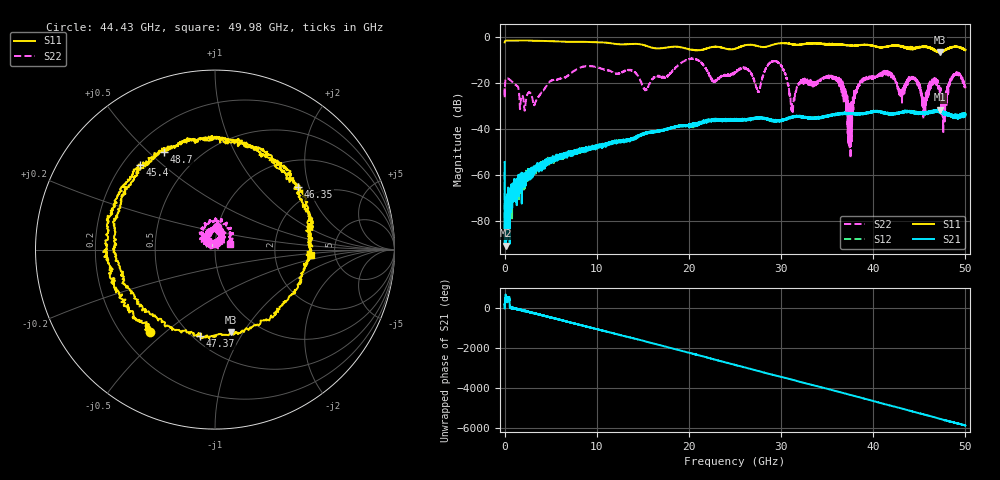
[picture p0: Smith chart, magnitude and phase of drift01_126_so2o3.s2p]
!Created with skrf (http://scikit-rf.org).
# Hz S RI R 50.0
!freq ReS11 ImS11 ReS21 ImS21 ReS12 ImS12 ReS22 ImS22
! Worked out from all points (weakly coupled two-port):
!   10001 points, 300 kHz to 50 GHz, reference 50 ohm
!   highest |S21| = -31.47 dB at 47.2 GHz (marker M1); lowest = -90.5 dB at 140.3 MHz (marker M2)
!   lowest |S11| = -6.6 dB at 47.24 GHz (marker M3), VSWR 2.76, Z = 37.3 - j44 ohm
!   |S11| at or under -10 dB: nowhere
!   |S22| runs from -52.5 to -9.2 dB; largest |S21 - S12| = 0.0039
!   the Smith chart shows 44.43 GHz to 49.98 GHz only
!   S11 on the Smith chart (normalised r, x): 44.43 GHz: 0.32, -0.44; 45.4 GHz: 0.27, +0.42; 46.35 GHz: 1.61, +1.70; 47.37 GHz: 0.54, -0.69; 48.7 GHz: 0.32, +0.56; 49.98 GHz: 3.28, -0.27
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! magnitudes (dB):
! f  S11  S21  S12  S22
! 300 kHz  -2.2  -54.2  -58.5  -22.2
! 140.3 MHz  -1.5  -90.5  -73.7  -17.9
! 3.29 GHz  -1.5  -57.0  -57.8  -28.8
! 8.335 GHz  -1.9  -48.8  -48.9  -12.9
! 16.67 GHz  -4.8  -40.6  -40.7  -16.6
! 25 GHz  -5.0  -35.6  -35.9  -15.3
! 29.59 GHz  -2.7  -36.3  -36.3  -10.6
! 31.24 GHz  -3.0  -34.7  -34.6  -32.2
! 33.34 GHz  -2.6  -35.0  -35.0  -20.0
! 36.21 GHz  -2.9  -33.5  -33.2  -19.6
! 37.47 GHz  -3.6  -33.1  -33.1  -36.2
! 38.66 GHz  -3.3  -33.4  -33.3  -20.1
! 41.67 GHz  -3.9  -33.0  -33.1  -15.8
! 44.43 GHz  -4.7  -32.4  -32.2  -17.8
! 45.4 GHz  -4.0  -32.9  -33.2  -27.7
! 46.35 GHz  -4.7  -32.2  -32.4  -20.1
! 47.2 GHz  -6.5  -31.5  -31.7  -22.6
! 47.24 GHz  -6.6  -32.2  -32.0  -25.6
! 47.37 GHz  -6.2  -32.1  -32.2  -26.6
! 48.7 GHz  -4.2  -34.0  -34.1  -16.3
! 49.98 GHz  -5.4  -34.1  -33.6  -21.1
! 50 GHz  -5.4  -33.4  -33.7  -21.4
